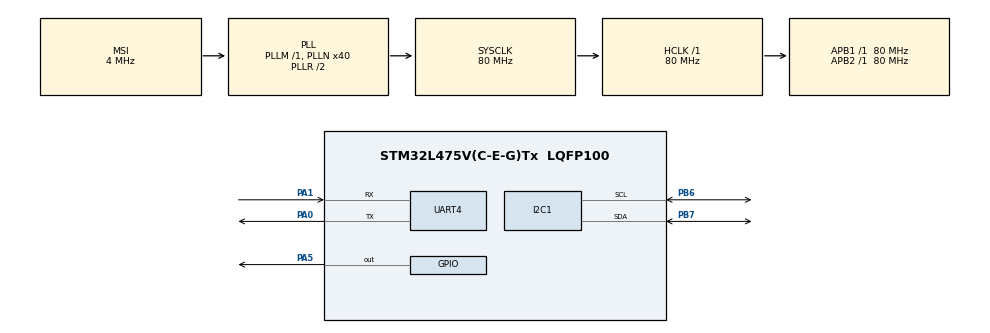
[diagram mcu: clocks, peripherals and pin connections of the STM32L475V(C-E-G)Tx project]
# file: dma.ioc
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Dma.Request0=UART4_RX
Dma.UART4_RX.0.Direction=DMA_PERIPH_TO_MEMORY
Dma.UART4_RX.0.Instance=DMA2_Channel5
Dma.UART4_RX.0.MemDataAlignment=DMA_MDATAALIGN_BYTE
Dma.UART4_RX.0.MemInc=DMA_MINC_ENABLE
Dma.UART4_RX.0.Mode=DMA_NORMAL
Dma.UART4_RX.0.PeriphDataAlignment=DMA_PDATAALIGN_BYTE
Dma.UART4_RX.0.PeriphInc=DMA_PINC_DISABLE
Dma.UART4_RX.0.Priority=DMA_PRIORITY_LOW
I2C1.Timing=0x10D19CE4
Mcu.Family=STM32L4
Mcu.Name=STM32L475V(C-E-G)Tx
Mcu.Package=LQFP100
NVIC.DMA2_Channel5_IRQn=true\:0\:0\:false\:false\:true\:false\:true\:true
NVIC.PriorityGroup=NVIC_PRIORITYGROUP_4
NVIC.UART4_IRQn=true\:0\:0\:false\:false\:true\:true\:true\:true
PA0.Mode=Asynchronous
PA0.Signal=UART4_TX
PA1.Mode=Asynchronous
PA1.Signal=UART4_RX
PA5.Signal=GPIO_Output
PB6.GPIO_Pu=GPIO_PULLUP
PB6.Mode=I2C
PB6.Signal=I2C1_SCL
PB7.GPIO_Pu=GPIO_PULLUP
PB7.Mode=I2C
PB7.Signal=I2C1_SDA
ProjectManager.HeapSize=0x200
ProjectManager.StackSize=0x400
ProjectManager.TargetToolchain=STM32CubeIDE
RCC.ADCFreq_Value=48000000
RCC.AHBFreq_Value=80000000
RCC.APB1Freq_Value=80000000
RCC.APB1TimFreq_Value=80000000
RCC.APB2Freq_Value=80000000
RCC.APB2TimFreq_Value=80000000
RCC.CortexFreq_Value=80000000
RCC.HCLKFreq_Value=80000000
RCC.HSE_VALUE=8000000
RCC.HSI_VALUE=16000000
RCC.MSI_VALUE=4000000
RCC.PLLN=40
RCC.PLLSAI1N=24
RCC.SYSCLKFreq_VALUE=80000000
RCC.SYSCLKSource=RCC_SYSCLKSOURCE_PLLCLK
RCC.USBFreq_Value=48000000
RCC.VCOOutputFreq_Value=160000000
board=B-L475E-IOT01A1

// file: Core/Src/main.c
/* USER CODE BEGIN Header */
/**
  ******************************************************************************
  * @file           : main.c
  * @brief          : Main program body
  ******************************************************************************
  * @attention
  *
  * Copyright (c) 2025 STMicroelectronics.
  * All rights reserved.
  *
  * This software is licensed under terms that can be found in the LICENSE file
  * in the root directory of this software component.
  * If no LICENSE file comes with this software, it is provided AS-IS.
  *
  ******************************************************************************
  */
/* USER CODE END Header */
#include "main.h"
#include"stdio.h"
#include<string.h>

I2C_HandleTypeDef hi2c1;

UART_HandleTypeDef huart4;
DMA_HandleTypeDef hdma_uart4_rx;

void SystemClock_Config(void);
static void MX_GPIO_Init(void);
static void MX_DMA_Init(void);
static void MX_UART4_Init(void);
static void MX_I2C1_Init(void);
void HAL_UARTEx_RxEventCallback(UART_HandleTypeDef *huart, uint16_t Size);
void textToMorse(const char* input, char* output, size_t maxLen);
void processMorseCode(char *code);

/* USER CODE BEGIN 0 */
uint8_t tx_buffer[32]="hello world\n";
uint8_t rx_indx;
uint8_t rx_buffer[64];
uint8_t rx_data;
uint8_t transfer_cplt;
volatile uint8_t blink_flag = 0;
char morse_buffer[256];
const char* morse_table[36] = {
    ".-", "-...", "-.-.", "-..", ".", "..-.", "--.", "....", "..", // A–I
    ".---", "-.-", ".-..", "--", "-.", "---", ".--.", "--.-", ".-.", // J–R
    "...", "-", "..-", "...-", ".--", "-..-", "-.--", "--..",        // S–Z
    "-----", ".----", "..---", "...--", "....-", ".....", "-....", "--...", "---..", "----." // 0–9
};

/* USER CODE END 0 */

int main(void)
{

  /* MCU Configuration--------------------------------------------------------*/

  /* Reset of all peripherals, Initializes the Flash interface and the Systick. */
  HAL_Init();

  /* Configure the system clock */
  SystemClock_Config();

  /* Initialize all configured peripherals */
  MX_GPIO_Init();
  MX_DMA_Init();
  MX_UART4_Init();
  MX_I2C1_Init();
  HAL_UARTEx_ReceiveToIdle_DMA(&huart4, rx_buffer, sizeof(rx_buffer));
  __HAL_DMA_DISABLE_IT(&hdma_uart4_rx, DMA_IT_HT);  // Optional: suppress half-transfer interrupt

  /* USER CODE BEGIN 2 */
  HAL_UART_Receive_IT(&huart4,&rx_data,1);
  /* USER CODE END 2 */

  /* Infinite loop */
  while (1)
  {

    /* USER CODE BEGIN 3 */
	  if (blink_flag)
	    {
	        blink_flag = 0;
	        blinkMorseCode(morse_buffer);
	    }
  }
  /* USER CODE END 3 */
}

void SystemClock_Config(void)
{
  RCC_OscInitTypeDef RCC_OscInitStruct = {0};
  RCC_ClkInitTypeDef RCC_ClkInitStruct = {0};

  /** Configure the main internal regulator output voltage
  */
  if (HAL_PWREx_ControlVoltageScaling(PWR_REGULATOR_VOLTAGE_SCALE1) != HAL_OK)
  {
    Error_Handler();
  }

  /** Initializes the RCC Oscillators according to the specified parameters
  * in the RCC_OscInitTypeDef structure.
  */
  RCC_OscInitStruct.OscillatorType = RCC_OSCILLATORTYPE_MSI;
  RCC_OscInitStruct.MSIState = RCC_MSI_ON;
  RCC_OscInitStruct.MSICalibrationValue = 0;
  RCC_OscInitStruct.MSIClockRange = RCC_MSIRANGE_6;
  RCC_OscInitStruct.PLL.PLLState = RCC_PLL_ON;
  RCC_OscInitStruct.PLL.PLLSource = RCC_PLLSOURCE_MSI;
  RCC_OscInitStruct.PLL.PLLM = 1;
  RCC_OscInitStruct.PLL.PLLN = 40;
  RCC_OscInitStruct.PLL.PLLP = RCC_PLLP_DIV7;
  RCC_OscInitStruct.PLL.PLLQ = RCC_PLLQ_DIV2;
  RCC_OscInitStruct.PLL.PLLR = RCC_PLLR_DIV2;
  if (HAL_RCC_OscConfig(&RCC_OscInitStruct) != HAL_OK)
  {
    Error_Handler();
  }

  /** Initializes the CPU, AHB and APB buses clocks
  */
  RCC_ClkInitStruct.ClockType = RCC_CLOCKTYPE_HCLK|RCC_CLOCKTYPE_SYSCLK
                              |RCC_CLOCKTYPE_PCLK1|RCC_CLOCKTYPE_PCLK2;
  RCC_ClkInitStruct.SYSCLKSource = RCC_SYSCLKSOURCE_PLLCLK;
  RCC_ClkInitStruct.AHBCLKDivider = RCC_SYSCLK_DIV1;
  RCC_ClkInitStruct.APB1CLKDivider = RCC_HCLK_DIV1;
  RCC_ClkInitStruct.APB2CLKDivider = RCC_HCLK_DIV1;

  if (HAL_RCC_ClockConfig(&RCC_ClkInitStruct, FLASH_LATENCY_4) != HAL_OK)
  {
    Error_Handler();
  }
}

static void MX_I2C1_Init(void)
{

  hi2c1.Instance = I2C1;
  hi2c1.Init.Timing = 0x10D19CE4;
  hi2c1.Init.OwnAddress1 = 0;
  hi2c1.Init.AddressingMode = I2C_ADDRESSINGMODE_7BIT;
  hi2c1.Init.DualAddressMode = I2C_DUALADDRESS_DISABLE;
  hi2c1.Init.OwnAddress2 = 0;
  hi2c1.Init.OwnAddress2Masks = I2C_OA2_NOMASK;
  hi2c1.Init.GeneralCallMode = I2C_GENERALCALL_DISABLE;
  hi2c1.Init.NoStretchMode = I2C_NOSTRETCH_DISABLE;
  if (HAL_I2C_Init(&hi2c1) != HAL_OK)
  {
    Error_Handler();
  }

  /** Configure Analogue filter
  */
  if (HAL_I2CEx_ConfigAnalogFilter(&hi2c1, I2C_ANALOGFILTER_ENABLE) != HAL_OK)
  {
    Error_Handler();
  }

  /** Configure Digital filter
  */
  if (HAL_I2CEx_ConfigDigitalFilter(&hi2c1, 0) != HAL_OK)
  {
    Error_Handler();
  }

}

static void MX_UART4_Init(void)
{

  huart4.Instance = UART4;
  huart4.Init.BaudRate = 115200;
  huart4.Init.WordLength = UART_WORDLENGTH_8B;
  huart4.Init.StopBits = UART_STOPBITS_1;
  huart4.Init.Parity = UART_PARITY_NONE;
  huart4.Init.Mode = UART_MODE_TX_RX;
  huart4.Init.HwFlowCtl = UART_HWCONTROL_NONE;
  huart4.Init.OverSampling = UART_OVERSAMPLING_16;
  huart4.Init.OneBitSampling = UART_ONE_BIT_SAMPLE_DISABLE;
  huart4.AdvancedInit.AdvFeatureInit = UART_ADVFEATURE_NO_INIT;
  if (HAL_UART_Init(&huart4) != HAL_OK)
  {
    Error_Handler();
  }

}

static void MX_DMA_Init(void)
{

  /* DMA controller clock enable */
  __HAL_RCC_DMA2_CLK_ENABLE();

  /* DMA interrupt init */
  /* DMA2_Channel5_IRQn interrupt configuration */
  HAL_NVIC_SetPriority(DMA2_Channel5_IRQn, 0, 0);
  HAL_NVIC_EnableIRQ(DMA2_Channel5_IRQn);

}

static void MX_GPIO_Init(void)
{
  GPIO_InitTypeDef GPIO_InitStruct = {0};

  /* GPIO Ports Clock Enable */
  __HAL_RCC_GPIOA_CLK_ENABLE();
  __HAL_RCC_GPIOB_CLK_ENABLE();

  /*Configure GPIO pin Output Level */
  HAL_GPIO_WritePin(GPIOA, GPIO_PIN_5, GPIO_PIN_RESET);

  /*Configure GPIO pin : PA5 */
  GPIO_InitStruct.Pin = GPIO_PIN_5;
  GPIO_InitStruct.Mode = GPIO_MODE_OUTPUT_PP;
  GPIO_InitStruct.Pull = GPIO_NOPULL;
  GPIO_InitStruct.Speed = GPIO_SPEED_FREQ_LOW;
  HAL_GPIO_Init(GPIOA, &GPIO_InitStruct);

}

/* USER CODE BEGIN 4 */
void HAL_UARTEx_RxEventCallback(UART_HandleTypeDef *huart, uint16_t Size)
{
    if (huart->Instance == UART4)
    {
        rx_buffer[Size] = '\0';  // null terminate
        char morse_output[256];
        textToMorse((char*)rx_buffer, morse_output, sizeof(morse_output));

        // Transmit Morse code string over UART
        HAL_UART_Transmit(&huart4, (uint8_t*)morse_output, strlen(morse_output), HAL_MAX_DELAY);

        // Blink LED
        blink_flag = 1;  // Set flag to trigger blink in main loop
        strncpy(morse_buffer, morse_output, sizeof(morse_buffer));
        morse_buffer[sizeof(morse_buffer) - 1] = '\0';  // Ensure null-termination

        // Clear buffer after processing
        memset(rx_buffer, 0, sizeof(rx_buffer)); // Clear the buffer after processing

        // Restart reception
        HAL_UARTEx_ReceiveToIdle_DMA(&huart4, rx_buffer, sizeof(rx_buffer));
    }

}
void blinkMorseCode(char* code)
{char msg[50]; // Add this line before the loop

    for (uint16_t i = 0; i < strlen(code); i++)
    {
        snprintf(msg, sizeof(msg), "Blinking: %c\r\n", code[i]);
        HAL_UART_Transmit(&huart4, (uint8_t*)msg, strlen(msg), HAL_MAX_DELAY);

        if (code[i] == '.')
        {
            HAL_GPIO_WritePin(GPIOA, GPIO_PIN_5, GPIO_PIN_SET);
            HAL_Delay(200);  // short blink
            HAL_GPIO_WritePin(GPIOA, GPIO_PIN_5, GPIO_PIN_RESET);
            HAL_Delay(200); // gap between elements
        }
        else if (code[i] == '-')
        {
            HAL_GPIO_WritePin(GPIOA, GPIO_PIN_5, GPIO_PIN_SET);
            HAL_Delay(600);  // long blink
            HAL_GPIO_WritePin(GPIOA, GPIO_PIN_5, GPIO_PIN_RESET);
            HAL_Delay(600); // gap between elements
        }
        else if (code[i] == '/')
        {
            HAL_Delay(1400); // inter-word delay
        }

        else if (code[i] == ' ')
        {
            HAL_Delay(1000);  // inter-letter delay
        }
        HAL_Delay(200);  // small gap between dots/dashes
    }
}

void textToMorse(const char* input, char* output, size_t maxLen)
{
    output[0] = '\0';  // Clear output buffer

    for (size_t i = 0; i < strlen(input); i++)
    {
        char c = input[i];
        if (c >= 'a' && c <= 'z') {
            strcat(output, morse_table[c - 'a']);
        }
        else if (c >= 'A' && c <= 'Z') {
            strcat(output, morse_table[c - 'A']);
        }
        else if (c >= '0' && c <= '9') {
            strcat(output, morse_table[c - '0' + 26]);
        }
        else if (c == ' ') {
            strcat(output, "/");  // separator for words
        }
        else {
            continue; // skip unsupported characters
        }
        strcat(output, " "); // separator between letters
        if (strlen(output) > maxLen - 6) break; // prevent overflow
    }
}

void processMorseCode(char *code)
{
    HAL_UART_Transmit(&huart4, (uint8_t *)"Blinking...\n", 12, HAL_MAX_DELAY);
    blinkMorseCode(code);
    HAL_UART_Transmit(&huart4, (uint8_t *)"Done\n", 5, HAL_MAX_DELAY);
}

/* USER CODE END 4 */

void Error_Handler(void)
{
  __disable_irq();
  while (1)
  {
  }
}
